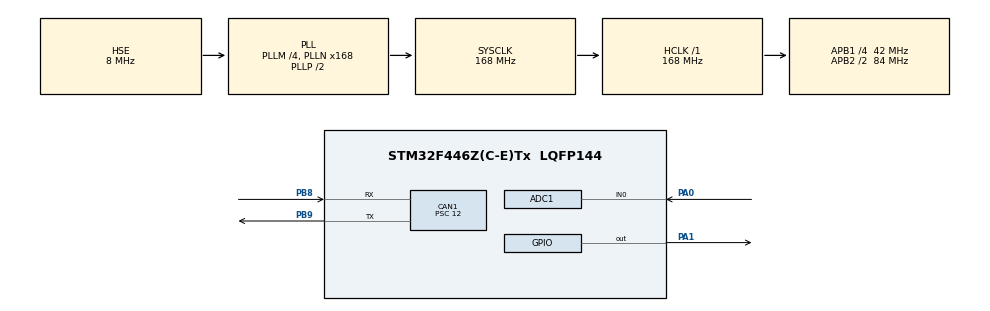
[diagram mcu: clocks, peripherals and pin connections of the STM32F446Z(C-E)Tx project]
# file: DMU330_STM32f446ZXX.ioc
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ADC1.Channel-1\#ChannelRegularConversion=ADC_CHANNEL_0
ADC1.ContinuousConvMode=ENABLE
ADC1.NbrOfConversionFlag=1
ADC1.Rank-1\#ChannelRegularConversion=1
ADC1.SamplingTime-1\#ChannelRegularConversion=ADC_SAMPLETIME_3CYCLES
ADC1.master=1
CAN1.BS1=CAN_BS1_8TQ
CAN1.BS2=CAN_BS2_5TQ
CAN1.CalculateBaudRate=250000
CAN1.CalculateTimeBit=4000
CAN1.CalculateTimeQuantum=285.7142857142857
CAN1.Prescaler=12
Mcu.Family=STM32F4
Mcu.Name=STM32F446Z(C-E)Tx
Mcu.Package=LQFP144
NVIC.PriorityGroup=NVIC_PRIORITYGROUP_4
PA0-WKUP.Signal=ADCx_IN0
PA1.Signal=GPIO_Output
PA13.Mode=Serial_Wire
PA13.Signal=SYS_JTMS-SWDIO
PA14.Mode=Serial_Wire
PA14.Signal=SYS_JTCK-SWCLK
PB8.Mode=CAN_Activate
PB8.Signal=CAN1_RX
PB9.Mode=CAN_Activate
PB9.Signal=CAN1_TX
PH0-OSC_IN.Mode=HSE-External-Oscillator
PH0-OSC_IN.Signal=RCC_OSC_IN
PH1-OSC_OUT.Mode=HSE-External-Oscillator
PH1-OSC_OUT.Signal=RCC_OSC_OUT
ProjectManager.HeapSize=0x200
ProjectManager.StackSize=0x400
ProjectManager.TargetToolchain=STM32CubeIDE
RCC.AHBFreq_Value=168000000
RCC.APB1CLKDivider=RCC_HCLK_DIV4
RCC.APB1Freq_Value=42000000
RCC.APB1TimFreq_Value=84000000
RCC.APB2CLKDivider=RCC_HCLK_DIV2
RCC.APB2Freq_Value=84000000
RCC.APB2TimFreq_Value=168000000
RCC.CortexFreq_Value=168000000
RCC.HCLKFreq_Value=168000000
RCC.HSE_VALUE=8000000
RCC.PLLM=4
RCC.PLLN=168
RCC.PLLSourceVirtual=RCC_PLLSOURCE_HSE
RCC.SYSCLKFreq_VALUE=168000000
RCC.SYSCLKSource=RCC_SYSCLKSOURCE_PLLCLK
RCC.USBFreq_Value=168000000
RCC.VCOOutputFreq_Value=336000000
SH.ADCx_IN0.0=ADC1_IN0,IN0
board=custom

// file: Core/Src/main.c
/* USER CODE BEGIN Header */
/**
  ******************************************************************************
  * @file           : main.c
  * @brief          : Main program body
  ******************************************************************************
  * @attention
  *
  * Copyright (c) 2024 STMicroelectronics.
  * All rights reserved.
  *
  * This software is licensed under terms that can be found in the LICENSE file
  * in the root directory of this software component.
  * If no LICENSE file comes with this software, it is provided AS-IS.
  *
  ******************************************************************************
  */
/* USER CODE END Header */
#include "main.h"

/* USER CODE BEGIN PD */
uint16_t data;
uint8_t data2;
CAN_FilterTypeDef sFilterConfig;
/* USER CODE END PD */

ADC_HandleTypeDef hadc1;

CAN_HandleTypeDef hcan1;

void SystemClock_Config(void);
static void MX_GPIO_Init(void);
static void MX_ADC1_Init(void);
static void MX_CAN1_Init(void);

/* USER CODE BEGIN 0 */
void Read_ADC()
{
	HAL_ADC_Start(&hadc1);
	if(HAL_ADC_PollForConversion(&hadc1, 100000) == HAL_OK)
	{
		data = HAL_ADC_GetValue(&hadc1);
		data2 = HAL_GPIO_ReadPin(GPIOA, GPIO_PIN_0);
	}
	HAL_ADC_Stop(&hadc1);
}

CAN_TxHeaderTypeDef TxTransmitter;
unsigned char TxData[8];
uint32_t TxMailbox;
/* USER CODE END 0 */

int main(void)
{

  /* MCU Configuration--------------------------------------------------------*/

  /* Reset of all peripherals, Initializes the Flash interface and the Systick. */
  HAL_Init();

  /* Configure the system clock */
  SystemClock_Config();

  /* Initialize all configured peripherals */
  MX_GPIO_Init();
  MX_ADC1_Init();
  MX_CAN1_Init();
  /* USER CODE BEGIN 2 */
	HAL_CAN_Start(&hcan1);

	TxTransmitter.StdId=0x601;
	TxTransmitter.DLC=8;
	TxTransmitter.IDE=CAN_ID_STD;
	TxTransmitter.RTR = CAN_RTR_DATA;
  /* USER CODE END 2 */

  /* Infinite loop */
  while (1)
  {

    /* USER CODE BEGIN 3 */

	  Read_ADC();
	  if (HAL_CAN_AddTxMessage(&hcan1, &TxTransmitter, &data, &TxMailbox) != HAL_OK)
	 	    {
	 	      Error_Handler();
	 	    }

	 	    HAL_Delay(1000); // Delay to avoid spamming the CAN bus

  }
  /* USER CODE END 3 */
}

void SystemClock_Config(void)
{
  RCC_OscInitTypeDef RCC_OscInitStruct = {0};
  RCC_ClkInitTypeDef RCC_ClkInitStruct = {0};

  /** Configure the main internal regulator output voltage
  */
  __HAL_RCC_PWR_CLK_ENABLE();
  __HAL_PWR_VOLTAGESCALING_CONFIG(PWR_REGULATOR_VOLTAGE_SCALE1);

  /** Initializes the RCC Oscillators according to the specified parameters
  * in the RCC_OscInitTypeDef structure.
  */
  RCC_OscInitStruct.OscillatorType = RCC_OSCILLATORTYPE_HSE;
  RCC_OscInitStruct.HSEState = RCC_HSE_ON;
  RCC_OscInitStruct.PLL.PLLState = RCC_PLL_ON;
  RCC_OscInitStruct.PLL.PLLSource = RCC_PLLSOURCE_HSE;
  RCC_OscInitStruct.PLL.PLLM = 4;
  RCC_OscInitStruct.PLL.PLLN = 168;
  RCC_OscInitStruct.PLL.PLLP = RCC_PLLP_DIV2;
  RCC_OscInitStruct.PLL.PLLQ = 2;
  RCC_OscInitStruct.PLL.PLLR = 2;
  if (HAL_RCC_OscConfig(&RCC_OscInitStruct) != HAL_OK)
  {
    Error_Handler();
  }

  /** Initializes the CPU, AHB and APB buses clocks
  */
  RCC_ClkInitStruct.ClockType = RCC_CLOCKTYPE_HCLK|RCC_CLOCKTYPE_SYSCLK
                              |RCC_CLOCKTYPE_PCLK1|RCC_CLOCKTYPE_PCLK2;
  RCC_ClkInitStruct.SYSCLKSource = RCC_SYSCLKSOURCE_PLLCLK;
  RCC_ClkInitStruct.AHBCLKDivider = RCC_SYSCLK_DIV1;
  RCC_ClkInitStruct.APB1CLKDivider = RCC_HCLK_DIV4;
  RCC_ClkInitStruct.APB2CLKDivider = RCC_HCLK_DIV2;

  if (HAL_RCC_ClockConfig(&RCC_ClkInitStruct, FLASH_LATENCY_5) != HAL_OK)
  {
    Error_Handler();
  }
}

static void MX_ADC1_Init(void)
{

  ADC_ChannelConfTypeDef sConfig = {0};

  /** Configure the global features of the ADC (Clock, Resolution, Data Alignment and number of conversion)
  */
  hadc1.Instance = ADC1;
  hadc1.Init.ClockPrescaler = ADC_CLOCK_SYNC_PCLK_DIV4;
  hadc1.Init.Resolution = ADC_RESOLUTION_12B;
  hadc1.Init.ScanConvMode = DISABLE;
  hadc1.Init.ContinuousConvMode = ENABLE;
  hadc1.Init.DiscontinuousConvMode = DISABLE;
  hadc1.Init.ExternalTrigConvEdge = ADC_EXTERNALTRIGCONVEDGE_NONE;
  hadc1.Init.ExternalTrigConv = ADC_SOFTWARE_START;
  hadc1.Init.DataAlign = ADC_DATAALIGN_RIGHT;
  hadc1.Init.NbrOfConversion = 1;
  hadc1.Init.DMAContinuousRequests = DISABLE;
  hadc1.Init.EOCSelection = ADC_EOC_SINGLE_CONV;
  if (HAL_ADC_Init(&hadc1) != HAL_OK)
  {
    Error_Handler();
  }

  /** Configure for the selected ADC regular channel its corresponding rank in the sequencer and its sample time.
  */
  sConfig.Channel = ADC_CHANNEL_0;
  sConfig.Rank = 1;
  sConfig.SamplingTime = ADC_SAMPLETIME_3CYCLES;
  if (HAL_ADC_ConfigChannel(&hadc1, &sConfig) != HAL_OK)
  {
    Error_Handler();
  }

}

static void MX_CAN1_Init(void)
{

  hcan1.Instance = CAN1;
  hcan1.Init.Prescaler = 12;
  hcan1.Init.Mode = CAN_MODE_NORMAL;
  hcan1.Init.SyncJumpWidth = CAN_SJW_1TQ;
  hcan1.Init.TimeSeg1 = CAN_BS1_8TQ;
  hcan1.Init.TimeSeg2 = CAN_BS2_5TQ;
  hcan1.Init.TimeTriggeredMode = DISABLE;
  hcan1.Init.AutoBusOff = DISABLE;
  hcan1.Init.AutoWakeUp = DISABLE;
  hcan1.Init.AutoRetransmission = DISABLE;
  hcan1.Init.ReceiveFifoLocked = DISABLE;
  hcan1.Init.TransmitFifoPriority = DISABLE;
  if (HAL_CAN_Init(&hcan1) != HAL_OK)
  {
    Error_Handler();
  }

}

static void MX_GPIO_Init(void)
{
  GPIO_InitTypeDef GPIO_InitStruct = {0};

  /* GPIO Ports Clock Enable */
  __HAL_RCC_GPIOH_CLK_ENABLE();
  __HAL_RCC_GPIOA_CLK_ENABLE();
  __HAL_RCC_GPIOB_CLK_ENABLE();

  /*Configure GPIO pin Output Level */
  HAL_GPIO_WritePin(GPIOA, GPIO_PIN_1, GPIO_PIN_RESET);

  /*Configure GPIO pin : PA1 */
  GPIO_InitStruct.Pin = GPIO_PIN_1;
  GPIO_InitStruct.Mode = GPIO_MODE_OUTPUT_PP;
  GPIO_InitStruct.Pull = GPIO_NOPULL;
  GPIO_InitStruct.Speed = GPIO_SPEED_FREQ_LOW;
  HAL_GPIO_Init(GPIOA, &GPIO_InitStruct);

}

void Error_Handler(void)
{
  __disable_irq();
  while (1)
  {
  }
}
